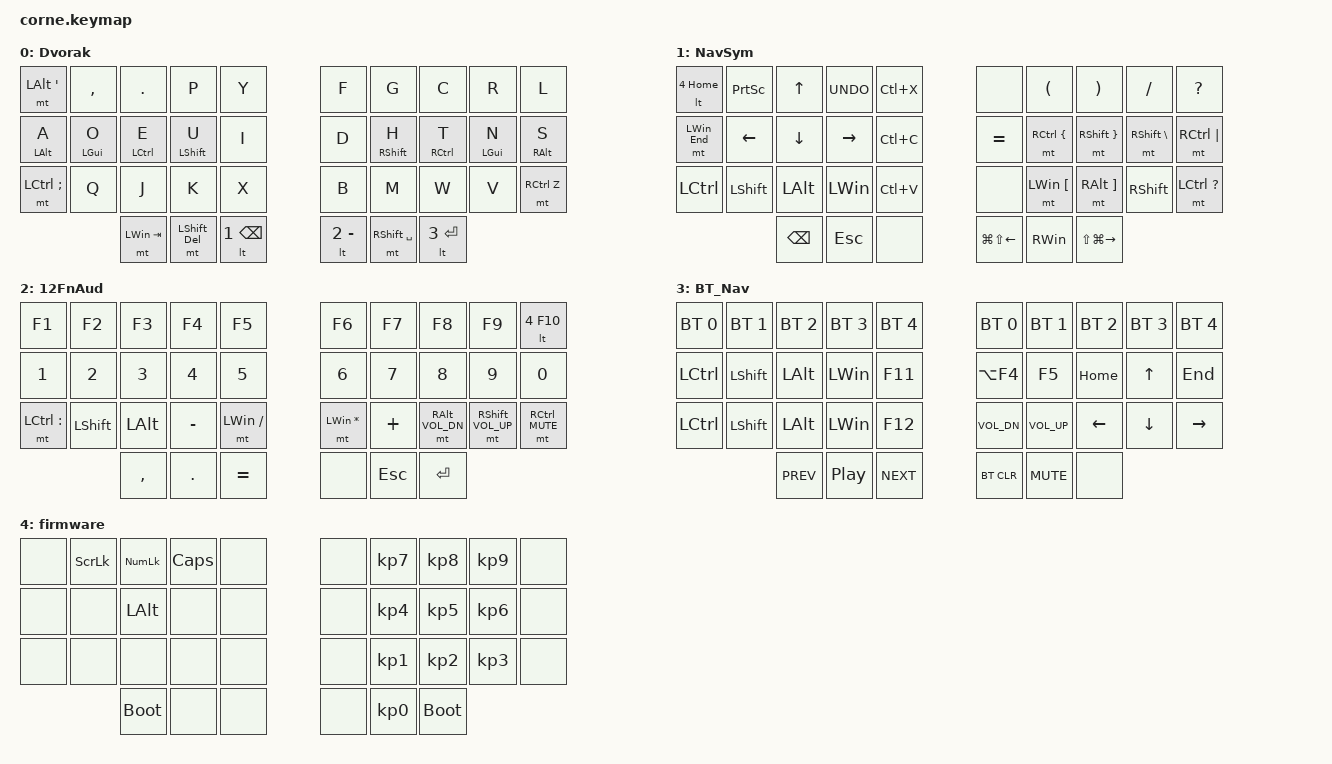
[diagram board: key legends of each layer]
/*
 * Copyright (c) 2020 The ZMK Contributors
 *
 * SPDX-License-Identifier: MIT
 */

#include <behaviors.dtsi>
#include <dt-bindings/zmk/bt.h>
#include <dt-bindings/zmk/keys.h>

//#define AS(keycode) &as LS(keycode) keycode
// Define behavior settings

behaviors {
    mt: multitap {
        compatible = "zmk,behavior-multitap";
        tapping-term-ms = <250>; // Default: 200
    };

    lt: layer-tap {
        compatible = "zmk,behavior-layer-tap";
        tapping-term-ms = <200>; // Default: 200
    };

    HRMShiftR: HRMShiftR {
        compatible = "zmk,behavior-hold-tap";
        label = "HRMSHIFTR";
        bindings = <&kp>, <&kp>;

        #binding-cells = <2>;
        tapping-term-ms = <200>;
        hold-while-undecided;
        hold-trigger-on-release;
        hold-trigger-key-positions = <0 1 2 0 1 3 4 10 11 12 13 14 20 21 22 23 24 30 31 32>;
    };

    HRMShiftL: HRMShiftL {
        compatible = "zmk,behavior-hold-tap";
        label = "HRMSHIFTL";
        bindings = <&kp>, <&kp>;

        #binding-cells = <2>;
        tapping-term-ms = <200>;
        hold-while-undecided;
        hold-trigger-on-release;
        hold-trigger-key-positions = <5 6 7 8 9 15 16 17 18 19 25 26 27 28 29 33 34 35>;
    };

    HRMOtherR: HRMOtherR {
        compatible = "zmk,behavior-hold-tap";
        label = "HRMOTHERR";
        bindings = <&kp>, <&kp>;

        #binding-cells = <2>;
        tapping-term-ms = <280>;
        hold-while-undecided;
        hold-trigger-on-release;
        hold-trigger-key-positions = <0 1 2 0 1 3 4 10 11 12 13 14 20 21 22 23 24 30 31 32>;
        flavor = "tap-preferred";
    };

    HRMOtherL: HRMOtherL {
        compatible = "zmk,behavior-hold-tap";
        label = "HRMOTHERL";
        bindings = <&kp>, <&kp>;

        #binding-cells = <2>;
        tapping-term-ms = <280>;
        hold-while-undecided;
        hold-trigger-on-release;
        hold-trigger-key-positions = <5 6 7 8 9 15 16 17 18 19 25 26 27 28 29 33 34 35>;
        flavor = "tap-preferred";
    };
};

/ {
    chosen { zmk,matrix_transform = &five_column_transform; };

    //    behaviors {
    //        as: auto_shift {
    //            compatible = "zmk,behavior-hold-tap";
    //            #binding-cells = <2>;
    //            tapping_term_ms = <200>;
    //            quick_tap_ms = <0>;
    //            flavor = "tap-preferred";
    //            bindings = <&kp>, <&kp>;
    //        };
    //    };

    combos {
        compatible = "zmk,combos";

        cut {
            bindings = <&kp LC(X)>;
            key-positions = <21 22>;
            layers = <0 1 2>;
        };

        copy {
            bindings = <&kp LC(C)>;
            key-positions = <22 23>;
            layers = <0 1 2>;
        };

        paste {
            bindings = <&kp LC(V)>;
            key-positions = <23 24>;
            layers = <0 1 2>;
        };

        esc {
            bindings = <&kp ESC>;
            key-positions = <0 1>;
            layers = <0 1 2 3>;
        };

        undo {
            bindings = <&kp LC(Z)>;
            key-positions = <29 28>;
            layers = <0>;
        };

        grave_tilde {
            bindings = <&kp GRAVE>;
            key-positions = <0 10>;
            layers = <0>;
        };

        backspace {
            bindings = <&kp BACKSPACE>;
            key-positions = <8 9>;
            layers = <0 1 2>;
        };

        question {
            bindings = <&kp QMARK>;
            key-positions = <1 2>;
        };

        Del {
            bindings = <&kp DEL>;
            key-positions = <8 7>;
        };

        LBracket {
            bindings = <&kp LPAR>;
            key-positions = <3 4>;
            layers = <0 2>;
        };

        RBracket {
            bindings = <&kp RPAR>;
            key-positions = <5 6>;
            layers = <0 2>;
        };

        LBrace {
            bindings = <&kp LBRC>;
            key-positions = <13 14>;
            layers = <0>;
        };

        RBrace {
            bindings = <&kp RBRC>;
            key-positions = <15 16>;
            layers = <0>;
        };

        app_calc {
            bindings = <&kp C_AL_CALC>;
            key-positions = <24 14>;
            layers = <0 2>;
        };

        caps {
            bindings = <&kp CAPS>;
            key-positions = <10 11>;
            layers = <0>;
        };

        ThumbShift1 {
            bindings = <&kp EXCLAMATION>;
            key-positions = <10 33>;
            layers = <0>;
        };

        ThumbShift2 {
            bindings = <&kp AT_SIGN>;
            key-positions = <11 33>;
            layers = <0>;
        };

        ThumbShift3 {
            bindings = <&kp HASH>;
            key-positions = <12 33>;
            layers = <0>;
        };

        ThumbShift4 {
            bindings = <&kp DOLLAR>;
            key-positions = <33 13>;
            layers = <0>;
        };

        ThumbShift5 {
            bindings = <&kp PERCENT>;
            key-positions = <33 14>;
            layers = <0>;
        };

        ThumbShift6 {
            bindings = <&kp CARET>;
            key-positions = <15 32>;
            layers = <0>;
        };

        ThumbShift7 {
            bindings = <&kp AMPERSAND>;
            key-positions = <16 32>;
            layers = <0>;
        };

        ThumbShift8 {
            bindings = <&kp ASTERISK>;
            key-positions = <17 32>;
            layers = <0>;
        };

        ThumbShift9 {
            bindings = <&kp LEFT_PARENTHESIS>;
            key-positions = <18 32>;
            layers = <0>;
        };

        ThumbShift0 {
            bindings = <&kp RIGHT_PARENTHESIS>;
            key-positions = <19 32>;
            layers = <0>;
        };

        PrtScn {
            bindings = <&kp PSCRN>;
            key-positions = <2 3>;
            layers = <0>;
        };

        homeCombo {
            bindings = <&kp HOME>;
            key-positions = <8 18>;
            layers = <0>;
        };

        endCombo {
            bindings = <&kp END>;
            key-positions = <9 19>;
            layers = <0>;
        };

        volDown {
            bindings = <&kp C_VOL_DN>;
            key-positions = <35 27>;
            layers = <0>;
        };

        volUp {
            bindings = <&kp C_VOL_UP>;
            key-positions = <35 28>;
            layers = <0>;
        };

        volMute {
            bindings = <&kp C_MUTE>;
            key-positions = <35 29>;
            layers = <0>;
        };

        ThumbNum1 {
            bindings = <&kp NUMBER_1>;
            key-positions = <32 10>;
        };

        ThumbNum2 {
            bindings = <&kp NUMBER_2>;
            key-positions = <32 11>;
        };

        ThumbNum3 {
            bindings = <&kp NUMBER_3>;
            key-positions = <32 12>;
        };

        ThumbNum4 {
            bindings = <&kp NUMBER_4>;
            key-positions = <32 13>;
        };

        ThumbNum5 {
            bindings = <&kp N5>;
            key-positions = <32 14>;
        };

        ThumbNum6 {
            bindings = <&kp NUMBER_6>;
            key-positions = <33 15>;
        };

        ThumbNum7 {
            bindings = <&kp N7>;
            key-positions = <33 16>;
        };

        ThumbNum8 {
            bindings = <&kp N8>;
            key-positions = <33 17>;
        };

        ThumbNum9 {
            bindings = <&kp N9>;
            key-positions = <33 18>;
        };

        ThumbNum0 {
            bindings = <&kp N0>;
            key-positions = <33 19>;
        };
    };

    behaviors {
    };

    keymap {
        compatible = "zmk,keymap";

        default_layer {
            // -----------------------------------------------------------------------------------------
            // |  Q  |  W  |  E  |  R  |  T  |     |  Y  |  U   |  I   |  O   | P |
            // |  A  |  S  |  D  |  F  |  G  |     |  H  |  J   |  K   |  L   | ' | 
            // |  Z  |  X  |  C  |  V  |  B  |     |  N  |  M   | CTRL | META | . |
            //             | GUI | LWR | SPC |     | ENT | RSE  | BSPC |

            display-name = "Dvorak";
            bindings = <
  &mt LALT SQT         &kp COMMA          &kp DOT             &kp P               &kp Y              &kp F        &kp G                &kp C               &kp R                  &kp L
  &HRMOtherL LALT A    &HRMOtherL LGUI O  &HRMOtherL LCTRL E  &HRMShiftL LSHFT U  &kp I              &kp D        &HRMShiftR RSHIFT H  &HRMOtherR RCTRL T  &HRMOtherR LEFT_GUI N  &HRMOtherR RALT S
  &mt LCTRL SEMICOLON  &kp Q              &kp J               &kp K               &kp X              &kp B        &kp M                &kp W               &kp V                  &mt RCTRL Z
                                          &mt LWIN TAB        &mt LSHIFT DEL      &lt 1 BACKSPACE    &lt 2 MINUS  &mt RSHIFT SPACE     &lt 3 ENTER
            >;
        };

        nav_symb {
            // -----------------------------------------------------------------------------------------
            // | 1! |  2@ |  3# |  4$ |  5% |     |  6^ |  7& |  8* |  9(  |  0)  |
            // | -_ |  =+ |  {  |  [  |  (  |     |  )  |  ]  |  }  |  /?  |  \|  |
            // | `~ |     |     |  ,< |  :  |     |  ;  |  .> | CTRL| META |      |
            //            | GUI | ESC | SPC |     | ENT |     | TAB |

            display-name = "NavSym";
            bindings = <
  &lt 4 HOME    &kp PSCRN  &kp UP         &kp K_UNDO  &kp LC(X)    &none             &kp LPAR        &kp RPAR           &kp SLASH       &kp QMARK
  &mt LWIN END  &kp LEFT   &kp DOWN       &kp RIGHT   &kp LC(C)    &kp EQUAL         &mt RCTRL LBRC  &mt RSHFT RBRC     &mt RSHFT BSLH  &mt RCTRL PIPE
  &kp LCTRL     &kp LSHFT  &kp LALT       &kp LWIN    &kp LC(V)    &none             &mt LWIN LBKT   &mt RALT RBKT      &kp RSHFT       &mt LCTRL QMARK
                           &kp BACKSPACE  &kp ESC     &none        &kp LG(LS(LEFT))  &kp RWIN        &kp LS(LG(RIGHT))
            >;
        };

        num_fn_audio {
            bindings = <
  &kp F1           &kp F2     &kp F3     &kp F4     &kp F5            &kp F6          &kp F7    &kp F8             &kp F9              &lt 4 F10
  &kp N1           &kp N2     &kp N3     &kp N4     &kp N5            &kp N6          &kp N7    &kp N8             &kp N9              &kp N0
  &mt LCTRL COLON  &kp LSHFT  &kp LALT   &kp MINUS  &mt LWIN SLASH    &mt LWIN ASTRK  &kp PLUS  &mt RALT C_VOL_DN  &mt RSHFT C_VOL_UP  &mt RCTRL C_MUTE
                              &kp COMMA  &kp DOT    &kp EQUAL         &none           &kp ESC   &kp ENTER
            >;

            label = "12FnAud";
        };

        bt_nav_music {
            // -----------------------------------------------------------------------------------------
            // | !     |  @  |  #  |  $  |  %  |     |  ^  |  &  |  *  |  (  |  )  |
            // | BT1   | BT2 | BT3 | BT4 | BT5 |     | LFT | DWN |  UP | RGT |     |
            // | BTCLR |     |     |     |     |     |     |     |     |     |     |
            //               | GUI |     | SPC |     | ENT | ESC | TAB |

            display-name = "BT_Nav";
            bindings = <
  &bt BT_SEL 0  &bt BT_SEL 1  &bt BT_SEL 2  &bt BT_SEL 3      &bt BT_SEL 4    &bt BT_SEL 0  &bt BT_SEL 1  &bt BT_SEL 2  &bt BT_SEL 3  &bt BT_SEL 4
  &kp LCTRL     &kp LSHFT     &kp LALT      &kp LWIN          &kp F11         &kp LA(F4)    &kp F5        &kp HOME      &kp UP        &kp END
  &kp LCTRL     &kp LSHFT     &kp LALT      &kp LWIN          &kp F12         &kp C_VOL_DN  &kp C_VOL_UP  &kp LEFT      &kp DOWN      &kp RIGHT
                              &kp C_PREV    &kp C_PLAY_PAUSE  &kp C_NEXT      &bt BT_CLR    &kp C_MUTE    &none
            >;
        };

        firmware {
            bindings = <
  &none  &kp SCROLLLOCK  &kp KP_NUMLOCK  &kp CAPSLOCK  &none    &none  &kp KP_N7  &kp KP_N8    &kp KP_N9  &none
  &none  &none           &kp LALT        &none         &none    &none  &kp KP_N4  &kp KP_N5    &kp KP_N6  &none
  &none  &none           &none           &none         &none    &none  &kp KP_N1  &kp KP_N2    &kp KP_N3  &none
                         &bootloader     &none         &none    &none  &kp KP_N0  &bootloader
            >;

            label = "firmware";
        };
    };

    conditional_layers { compatible = "zmk,conditional-layers"; };
};
